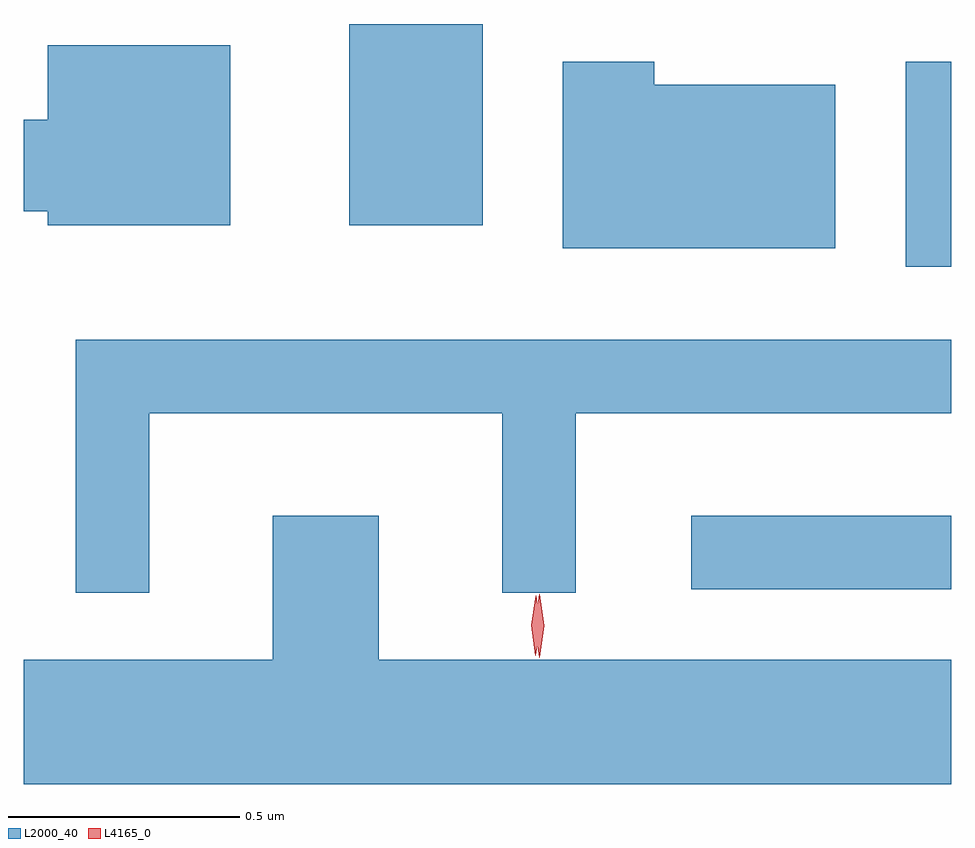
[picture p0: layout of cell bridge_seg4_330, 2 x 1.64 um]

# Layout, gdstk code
import gdstk
lib = gdstk.Library(unit=1e-6, precision=1e-09)
def R(c, l, rs):  # rectangles x0, y0, x1, y1
    for r in rs: c.add(gdstk.rectangle(r[:2], r[2:], *l))
def P(c, l, *ps):  # polygons
    for p in ps: c.add(gdstk.Polygon(p, *l))
L2000_40 = (2000, 40)
L4165_0 = (4165, 0)

bridge_seg4_330 = lib.new_cell('bridge_seg4_330')
R(bridge_seg4_330, L2000_40, [(726.913,1319.576,727.474,1319.734), (727.376,1320.271,727.474,1320.714), (726.176,1320.361,726.464,1320.795)])
P(bridge_seg4_330, L2000_40, [(725.919,1320.749),(725.526,1320.749),(725.526,1320.589),(725.474,1320.589),(725.474,1320.391),(725.526,1320.391),(725.526,1320.361),(725.919,1320.361)],
  [(727.224,1320.664),(726.834,1320.664),(726.834,1320.714),(726.636,1320.714),(726.636,1320.311),(727.224,1320.311)],
  [(725.744,1319.956),(726.506,1319.956),(726.506,1319.568),(726.664,1319.568),(726.664,1319.956),(727.474,1319.956),(727.474,1320.114),(725.586,1320.114),(725.586,1319.568),(725.744,1319.568)],
  [(727.474,1319.424),(726.239,1319.424),(726.239,1319.734),(726.011,1319.734),(726.011,1319.424),(725.474,1319.424),(725.474,1319.156),(727.474,1319.156)])
P(bridge_seg4_330, L4165_0, [(726.586,1319.428),(726.586,1319.429),(726.576,1319.497),(726.586,1319.565),(726.586,1319.565),(726.587,1319.565),(726.596,1319.497),(726.587,1319.429)],
  [(726.578,1319.433),(726.577,1319.434),(726.568,1319.498),(726.578,1319.562),(726.579,1319.562),(726.579,1319.562),(726.588,1319.497),(726.578,1319.434)])

lib.write_gds('bridge_seg4_330.gds')
